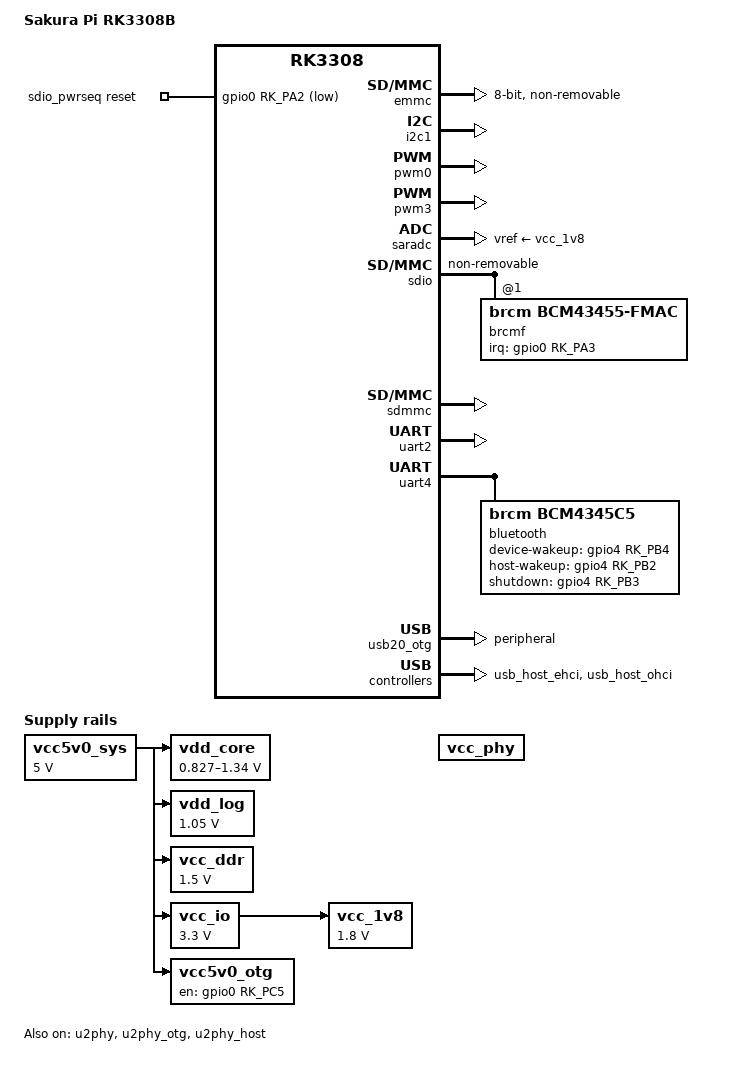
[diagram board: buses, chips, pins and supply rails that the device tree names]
// SPDX-License-Identifier: (GPL-2.0+ OR MIT)
/*
 * Copyright (c) 2019 Akash Gajjar <akash@openedev.com>
 * Copyright (c) 2019 Jagan Teki <jagan@openedev.com>
 * Copyright (C) 2024 TheSnowfield <thesnowfield@sakurapi.org>
 * Copyright (C) 2025 Hsun Lai <i@chainsx.cn>
 */

/dts-v1/;
#include "rk3308.dtsi"
#include <dt-bindings/leds/common.h>

/ {
	model = "Sakura Pi RK3308B";
	compatible = "sakurapi,rk3308-sakurapi-rk3308b", "rockchip,rk3308";

	aliases {
		mmc0 = &emmc;
		mmc1 = &sdmmc;
		mmc2 = &sdio;
	};

	chosen {
		stdout-path = "serial2:1500000n8";
	};

	vcc5v0_sys: regulator-vcc5v0-sys {
		compatible = "regulator-fixed";
		regulator-name = "vcc5v0_sys";
		regulator-always-on;
		regulator-boot-on;
		regulator-min-microvolt = <5000000>;
		regulator-max-microvolt = <5000000>;
	};

	vdd_core: regulator-vdd-core {
		compatible = "pwm-regulator";
		pwms = <&pwm0 0 5000 1>;
		regulator-name = "vdd_core";
		regulator-min-microvolt = <827000>;
		regulator-max-microvolt = <1340000>;
		regulator-settling-time-up-us = <250>;
		regulator-always-on;
		regulator-boot-on;
		pwm-supply = <&vcc5v0_sys>;
	};

	vdd_log: regulator-vdd-log {
		compatible = "regulator-fixed";
		regulator-name = "vdd_log";
		regulator-always-on;
		regulator-boot-on;
		regulator-min-microvolt = <1050000>;
		regulator-max-microvolt = <1050000>;
		vin-supply = <&vcc5v0_sys>;
	};

	vcc_ddr: regulator-vcc-ddr {
		compatible = "regulator-fixed";
		regulator-name = "vcc_ddr";
		regulator-always-on;
		regulator-boot-on;
		regulator-min-microvolt = <1500000>;
		regulator-max-microvolt = <1500000>;
		vin-supply = <&vcc5v0_sys>;
	};

	vcc_1v8: regulator-vcc-1v8 {
		compatible = "regulator-fixed";
		regulator-name = "vcc_1v8";
		regulator-always-on;
		regulator-boot-on;
		regulator-min-microvolt = <1800000>;
		regulator-max-microvolt = <1800000>;
		vin-supply = <&vcc_io>;
	};

	vcc_io: regulator-vcc-io {
		compatible = "regulator-fixed";
		regulator-name = "vcc_io";
		regulator-always-on;
		regulator-boot-on;
		regulator-min-microvolt = <3300000>;
		regulator-max-microvolt = <3300000>;
		vin-supply = <&vcc5v0_sys>;
	};

	vcc_phy: regulator-vcc-phy-regulator {
		compatible = "regulator-fixed";
		regulator-name = "vcc_phy";
		regulator-always-on;
		regulator-boot-on;
	};

	vcc5v0_otg: regulator-vcc5v0-otg {
		compatible = "regulator-fixed";
		enable-active-high;
		gpio = <&gpio0 RK_PC5 GPIO_ACTIVE_HIGH>;
		pinctrl-names = "default";
		pinctrl-0 = <&otg_vbus_drv>;
		regulator-name = "vcc5v0_otg";
		regulator-always-on;
		vin-supply = <&vcc5v0_sys>;
	};

	sdio_pwrseq: sdio-pwrseq {
		compatible = "mmc-pwrseq-simple";
		pinctrl-0 = <&wifi_enable_h>;
		pinctrl-names = "default";
		/*
		 * On the module itself this is one of these (depending
		 * on the actual card populated):
		 * - SDIO_RESET_L_WL_REG_ON
		 * - PDN (power down when low)
		 */
		reset-gpios = <&gpio0 RK_PA2 GPIO_ACTIVE_LOW>;
	};
};

&cpu0 {
	cpu-supply = <&vdd_core>;
};

&emmc {
	bus-width = <8>;
	cap-mmc-highspeed;
	non-removable;
	status = "okay";
};

&i2c1 {
	status = "okay";
};

&pinctrl {
	pinctrl-names = "default";
	pinctrl-0 = <&rtc_32k>;

	bluetooth {
		bt_reg_on: bt-reg-on {
			rockchip,pins = <4 RK_PB3 RK_FUNC_GPIO &pcfg_pull_none>;
		};

		bt_wake_host: bt-wake-host {
			rockchip,pins = <4 RK_PB4 RK_FUNC_GPIO &pcfg_pull_none>;
		};

		host_wake_bt: host-wake-bt {
			rockchip,pins = <4 RK_PB2 RK_FUNC_GPIO &pcfg_pull_none>;
		};
	};

	sdio-pwrseq {
		wifi_enable_h: wifi-enable-h {
			rockchip,pins = <0 RK_PA2 RK_FUNC_GPIO &pcfg_pull_none>;
		};
	};

	usb {
		otg_vbus_drv: otg-vbus-drv {
			rockchip,pins = <0 RK_PC5 RK_FUNC_GPIO &pcfg_pull_none>;
		};
	};

	wifi {
		wifi_host_wake: wifi-host-wake {
			rockchip,pins = <0 RK_PA0 RK_FUNC_GPIO &pcfg_pull_down>;
		};
	};
};

&pwm0 {
	status = "okay";
	pinctrl-0 = <&pwm0_pin_pull_down>;
};

&pwm3 {
	status = "okay";
};

&saradc {
	vref-supply = <&vcc_1v8>;
	status = "okay";
};

&sdio {
	#address-cells = <1>;
	#size-cells = <0>;
	cap-sd-highspeed;
	cap-sdio-irq;
	keep-power-in-suspend;
	mmc-pwrseq = <&sdio_pwrseq>;
	non-removable;
	no-mmc;
	no-sd;
	status = "okay";

	brcmf: wifi@1 {
		compatible = "brcm,bcm43455-fmac", "brcm,bcm4329-fmac";
		reg = <1>;
		interrupt-parent = <&gpio0>;
		interrupts = <RK_PA3 GPIO_ACTIVE_HIGH>;
		interrupt-names = "host-wake";
		pinctrl-names = "default";
		pinctrl-0 = <&wifi_host_wake>;
	};
};

&sdmmc {
	cap-mmc-highspeed;
	cap-sd-highspeed;
	disable-wp;
	pinctrl-0 = <&sdmmc_clk &sdmmc_cmd &sdmmc_det &sdmmc_bus4>;
	card-detect-delay = <800>;
	status = "okay";
};

&uart2 {
	pinctrl-names = "default";
	pinctrl-0 = <&uart2m0_xfer>;
	status = "okay";
};

&uart4 {
	pinctrl-names = "default";
	uart-has-rtscts;
	status = "okay";

	bluetooth {
		compatible = "brcm,bcm4345c5";
		clocks = <&cru SCLK_RTC32K>;
		clock-names = "lpo";
		pinctrl-names = "default";
		pinctrl-0 = <&host_wake_bt &bt_wake_host &bt_reg_on>;
		device-wakeup-gpios = <&gpio4 RK_PB4 GPIO_ACTIVE_HIGH>;
		host-wakeup-gpios = <&gpio4 RK_PB2 GPIO_ACTIVE_HIGH>;
		shutdown-gpios = <&gpio4 RK_PB3 GPIO_ACTIVE_HIGH>;
		max-speed = <1500000>;
	};
};

&u2phy {
	status = "okay";
};

&u2phy_otg {
	status = "okay";
};

&u2phy_host {
	status = "okay";
};

&usb20_otg {
	dr_mode = "peripheral";
	status = "okay";
};

&usb_host_ehci {
	status = "okay";
};

&usb_host_ohci {
	status = "okay";
};
